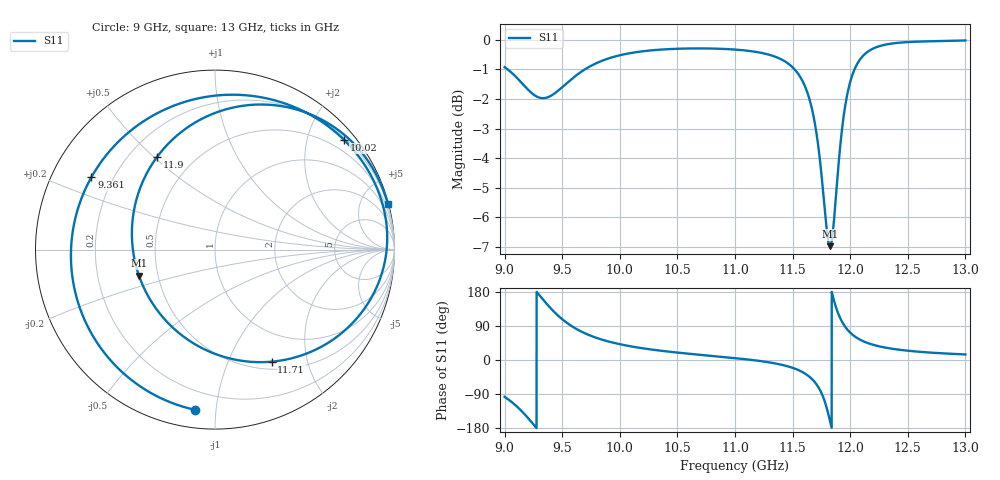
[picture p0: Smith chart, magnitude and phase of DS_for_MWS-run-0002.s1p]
! TOUCHSTONE file generated by CST DESIGN STUDIO
! Date and time: Tue Feb  4 17:29:40 2025
! Project name: C:\Work\MatlabApps\UnitCellOptimizationMatlab\CST\unitcell.cst
! Tree item: Tasks\Sweep1\SPara1\S-Parameters
! Header version: 2024
! Port assignment regex: !\s*Touchstone port\s*([0-9]+)\s*=\s*(CST MWS port|CST DES external port|CST DES block port)\s*(.+)\s* \(\"(.*)\"\)(\s*mode\s*([0-9]+))?.*
! Touchstone port assignment:
! Touchstone port 1 = CST DES external port 1 ("")
# GHz S MA R 50
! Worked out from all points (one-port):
!   4001 points, 9 GHz to 13 GHz, reference 50 ohm
!   lowest |S11| = -7.0 dB at 11.82 GHz (marker M1), VSWR 2.62, Z = 19.5 - j7.07 ohm
!   |S11| at or under -10 dB: nowhere
!   S11 on the Smith chart (normalised r, x): 9 GHz: 0.09, -0.88; 9.361 GHz: 0.12, +0.27; 10.02 GHz: 0.24, +2.71; 11.71 GHz: 0.59, -1.46; 11.9 GHz: 0.31, +0.51; 13 GHz: 0.07, +7.79
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9  0.8993 -97.2
9.11  0.8613 -123.7
9.218  0.8185 -158.3
9.288  0.8003 176.2
9.361  0.7981 149.7
9.43  0.8108 127.1
9.5  0.8318 107.7
9.598  0.8637 86.4
9.728  0.8989 66.4
10  0.9418 41.7
10.022  0.944 40.3
10.5  0.9659 19.6
11  0.9629 5.0
11.295  0.9439 -6.1
11.5  0.8987 -20.6
11.618  0.8248 -37.8
11.705  0.6997 -63.2
11.768  0.5456 -99.9
11.795  0.4803 -125.2
11.825  0.4478 -161.1
11.859  0.4947 157.2
11.897  0.6099 121.8
11.944  0.7446 93.3
12  0.8488 72.3
12.078  0.9222 54.9
12.176  0.9615 42.3
12.5  0.9914 24.5
13  0.9977 14.6
